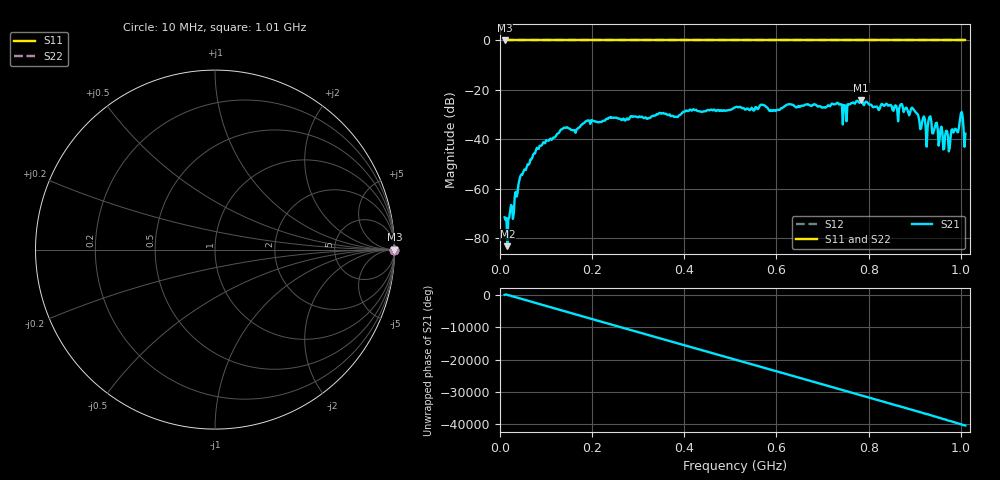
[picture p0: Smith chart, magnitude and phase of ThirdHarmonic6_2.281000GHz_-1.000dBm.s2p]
! 8/17/2025 2:57:37 AM
! C:\ANRITSUVNA\TEMP\TEMP.S2P
! CHANNEL.1
! TR.MEASUREMENT
! RAW.DATA
! RF.CORRECTION.OFF
! AVERAGING.OFF
! IF.BANDWIDTH: 5KHZ
! SWEEPTYPE:  FREQ.SWEEP(Linear)
! Reference Plane Port Info
! PORT:  PORT1  PORT2
! DISTANCE:  0  m  0  m
! TIME:  0  s  0  s
! PHASE.OFFSET:  0  deg.  0  deg.
! LOSS:  0  dB  0  dB
! REF.LOSS:  0  dB  0  dB
! REF.FREQ:  0  Hz  0  Hz
! Power Info
! POWER:  -20  dBm  -20  dBm
! EFF.POWER:  -20  dBm  -20  dBm
! SOURCE.ATTEN:  0  dB  0  dB
! TEST.ATTEN:  0  dB  0  dB
# GHZ S RI R 50.0
! FREQ.GHZ  S11RE  S11IM  S21RE  S21IM  S12RE  S12IM  S22RE  S22IM
!; PortSelection: Port_12
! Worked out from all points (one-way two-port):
!   501 points, 10 MHz to 1.01 GHz, reference 50 ohm
!   highest |S21| = -24.22 dB at 784 MHz (marker M1); lowest = -83.1 dB at 16 MHz (marker M2)
!   lowest |S11| = 0.0 dB at 10 MHz (marker M3)
!   |S11| at or under -10 dB: nowhere
!   |S22| runs from 0.0 to 0.0 dB; largest |S21 - S12| = 1.1
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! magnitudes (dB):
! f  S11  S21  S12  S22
! 10 MHz  0.0  -71.5  0.0  0.0
! 16 MHz  0.0  -83.1  0.0  0.0
! 32 MHz  0.0  -63.1  0.0  0.0
! 46 MHz  0.0  -54.2  0.0  0.0
! 76 MHz  0.0  -45.6  0.0  0.0
! 136 MHz  0.0  -35.7  0.0  0.0
! 178 MHz  0.0  -33.9  0.0  0.0
! 344 MHz  0.0  -29.7  0.0  0.0
! 510 MHz  0.0  -27.1  0.0  0.0
! 678 MHz  0.0  -26.2  0.0  0.0
! 736 MHz  0.0  -25.9  0.0  0.0
! 748 MHz  0.0  -26.2  0.0  0.0
! 758 MHz  0.0  -25.9  0.0  0.0
! 784 MHz  0.0  -24.2  0.0  0.0
! 844 MHz  0.0  -26.3  0.0  0.0
! 896 MHz  0.0  -27.5  0.0  0.0
! 912 MHz  0.0  -35.8  0.0  0.0
! 926 MHz  0.0  -42.9  0.0  0.0
! 932 MHz  0.0  -31.0  0.0  0.0
! 974 MHz  0.0  -44.8  0.0  0.0
! 1.002 GHz  0.0  -28.9  0.0  0.0
! 1.01 GHz  0.0  -37.7  0.0  0.0
